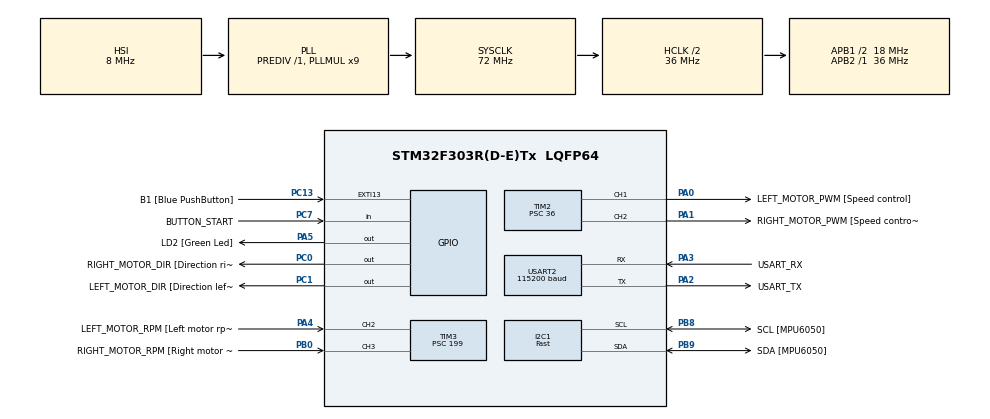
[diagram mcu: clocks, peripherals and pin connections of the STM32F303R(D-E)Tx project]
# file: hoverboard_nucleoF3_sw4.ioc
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I2C1.I2C_Speed_Mode=I2C_Fast
I2C1.Timing=0x0000020B
Mcu.Family=STM32F3
Mcu.Name=STM32F303R(D-E)Tx
Mcu.Package=LQFP64
NVIC.PriorityGroup=NVIC_PRIORITYGROUP_0
NVIC.TIM6_DAC_IRQn=true\:0\:0\:false\:false\:true\:true
NVIC.USART2_IRQn=true\:0\:0\:false\:false\:true\:true
PA0.GPIO_Label=LEFT_MOTOR_PWM [Speed control]
PA0.Signal=S_TIM2_CH1_ETR
PA1.GPIO_Label=RIGHT_MOTOR_PWM [Speed control]
PA1.Signal=S_TIM2_CH2
PA13.GPIO_Label=TMS
PA13.Signal=SYS_JTMS-SWDIO
PA14.GPIO_Label=TCK
PA14.Signal=SYS_JTCK-SWCLK
PA2.GPIO_Label=USART_TX
PA2.GPIO_Mode=GPIO_MODE_AF_PP
PA2.GPIO_PuPd=GPIO_NOPULL
PA2.GPIO_Speed=GPIO_SPEED_FREQ_LOW
PA2.Mode=Asynchronous
PA2.Signal=USART2_TX
PA3.GPIO_Label=USART_RX
PA3.GPIO_Mode=GPIO_MODE_AF_PP
PA3.GPIO_PuPd=GPIO_NOPULL
PA3.GPIO_Speed=GPIO_SPEED_FREQ_LOW
PA3.Mode=Asynchronous
PA3.Signal=USART2_RX
PA4.GPIO_Label=LEFT_MOTOR_RPM [Left motor rpm signal]
PA4.Signal=S_TIM3_CH2
PA5.GPIO_Label=LD2 [Green Led]
PA5.GPIO_Mode=GPIO_MODE_OUTPUT_PP
PA5.GPIO_PuPd=GPIO_NOPULL
PA5.GPIO_Speed=GPIO_SPEED_FREQ_LOW
PA5.Signal=GPIO_Output
PB0.GPIO_Label=RIGHT_MOTOR_RPM [Right motor rpm signal]
PB0.Signal=S_TIM3_CH3
PB3.GPIO_Label=SWO
PB3.Signal=SYS_JTDO-TRACESWO
PB8.GPIO_Label=SCL [MPU6050]
PB8.Mode=I2C
PB8.Signal=I2C1_SCL
PB9.GPIO_Label=SDA [MPU6050]
PB9.Mode=I2C
PB9.Signal=I2C1_SDA
PC0.GPIO_Label=RIGHT_MOTOR_DIR [Direction right motor]
PC0.Signal=GPIO_Output
PC1.GPIO_Label=LEFT_MOTOR_DIR [Direction left motor]
PC1.Signal=GPIO_Output
PC13.GPIO_Label=B1 [Blue PushButton]
PC13.GPIO_ModeDefaultEXTI=GPIO_MODE_IT_FALLING
PC13.Signal=GPXTI13
PC14-OSC32_IN.Signal=RCC_OSC32_IN
PC15-OSC32_OUT.Signal=RCC_OSC32_OUT
PC7.GPIO_Label=BUTTON_START
PC7.GPIO_PuPd=GPIO_PULLUP
PC7.Signal=GPIO_Input
PF0-OSC_IN.Signal=RCC_OSC_IN
PF1-OSC_OUT.Signal=RCC_OSC_OUT
ProjectManager.HeapSize=0x200
ProjectManager.StackSize=0x400
ProjectManager.TargetToolchain=SW4STM32
RCC.AHBCLKDivider=RCC_SYSCLK_DIV2
RCC.AHBFreq_Value=36000000
RCC.APB1CLKDivider=RCC_HCLK_DIV2
RCC.APB1Freq_Value=18000000
RCC.APB1TimFreq_Value=36000000
RCC.APB2Freq_Value=36000000
RCC.APB2TimFreq_Value=36000000
RCC.CortexFreq_Value=36000000
RCC.HCLKFreq_Value=36000000
RCC.HSE_VALUE=8000000
RCC.HSI_VALUE=8000000
RCC.LSE_VALUE=32768
RCC.PLLM=8
RCC.PLLMUL=RCC_PLL_MUL9
RCC.PLLN=336
RCC.PLLP=RCC_PLLP_DIV4
RCC.PLLQ=7
RCC.RCC_PLLsource_Clock_Source_FROM_HSE=RCC_HSE_PREDIV_DIV2
RCC.SYSCLKFreq_VALUE=72000000
RCC.SYSCLKSourceVirtual=RCC_SYSCLKSOURCE_PLLCLK
RCC.USBFreq_Value=72000000
SH.S_TIM2_CH1_ETR.0=TIM2_CH1,PWM Generation1 CH1
SH.S_TIM2_CH2.0=TIM2_CH2,PWM Generation2 CH2
SH.S_TIM3_CH2.0=TIM3_CH2,Input_Capture2_from_TI2
SH.S_TIM3_CH3.0=TIM3_CH3,Input_Capture3_from_TI3
TIM2.Channel-PWM\ Generation1\ CH1=TIM_CHANNEL_1
TIM2.Channel-PWM\ Generation2\ CH2=TIM_CHANNEL_2
TIM2.Period=1000-1
TIM2.Prescaler=36
TIM3.Channel-Input_Capture2_from_TI2=TIM_CHANNEL_2
TIM3.Channel-Input_Capture3_from_TI3=TIM_CHANNEL_3
TIM3.Period=59999
TIM3.Prescaler=199
TIM6.Period=5-1
TIM6.Prescaler=36000-1
USART2.BaudRate=115200
USART2.VirtualMode-Asynchronous=VM_ASYNC
VP_TIM6_VS_ClockSourceINT.Mode=Enable_Timer
board=NUCLEO-F303RE

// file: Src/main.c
/**
  ******************************************************************************
  * @file           : main.c
  * @brief          : Main program body
  ******************************************************************************
  ** This notice applies to any and all portions of this file
  * that are not between comment pairs USER CODE BEGIN and
  * USER CODE END. Other portions of this file, whether
  * inserted by the user or by software development tools
  * are owned by their respective copyright owners.
  *
  * COPYRIGHT(c) 2018 STMicroelectronics
  *
  * Redistribution and use in source and binary forms, with or without modification,
  * are permitted provided that the following conditions are met:
  *   1. Redistributions of source code must retain the above copyright notice,
  *      this list of conditions and the following disclaimer.
  *   2. Redistributions in binary form must reproduce the above copyright notice,
  *      this list of conditions and the following disclaimer in the documentation
  *      and/or other materials provided with the distribution.
  *   3. Neither the name of STMicroelectronics nor the names of its contributors
  *      may be used to endorse or promote products derived from this software
  *      without specific prior written permission.
  *
  * THIS SOFTWARE IS PROVIDED BY THE COPYRIGHT HOLDERS AND CONTRIBUTORS "AS IS"
  * AND ANY EXPRESS OR IMPLIED WARRANTIES, INCLUDING, BUT NOT LIMITED TO, THE
  * IMPLIED WARRANTIES OF MERCHANTABILITY AND FITNESS FOR A PARTICULAR PURPOSE ARE
  * DISCLAIMED. IN NO EVENT SHALL THE COPYRIGHT HOLDER OR CONTRIBUTORS BE LIABLE
  * FOR ANY DIRECT, INDIRECT, INCIDENTAL, SPECIAL, EXEMPLARY, OR CONSEQUENTIAL
  * DAMAGES (INCLUDING, BUT NOT LIMITED TO, PROCUREMENT OF SUBSTITUTE GOODS OR
  * SERVICES; LOSS OF USE, DATA, OR PROFITS; OR BUSINESS INTERRUPTION) HOWEVER
  * CAUSED AND ON ANY THEORY OF LIABILITY, WHETHER IN CONTRACT, STRICT LIABILITY,
  * OR TORT (INCLUDING NEGLIGENCE OR OTHERWISE) ARISING IN ANY WAY OUT OF THE USE
  * OF THIS SOFTWARE, EVEN IF ADVISED OF THE POSSIBILITY OF SUCH DAMAGE.
  *
  ******************************************************************************
  */
#include "main.h"
#include "stm32f3xx_hal.h"

/* USER CODE BEGIN Includes */

#include <math.h>
#include <stdlib.h>
#include "Uart.h"
#include "BLDC_Motors.h"
#include "tm_stm32_delay.h"
#include "mpu6050.h"
#include "kalman_filter.h"
#include "PID_regulator.h"

/* USER CODE END Includes */

I2C_HandleTypeDef hi2c1;

TIM_HandleTypeDef htim2;
TIM_HandleTypeDef htim3;
TIM_HandleTypeDef htim6;

UART_HandleTypeDef huart2;

/* USER CODE BEGIN PV */
/* Private variables ---------------------------------------------------------*/

//UART
extern uint8_t str[50];
extern uint16_t size;

//MPU
TM_MPU6050_t MPU6050_Data0;
TM_MPU6050_t MPU6050_Data1;
uint8_t sensor0 = 0;
uint8_t sensor1 = 0;

//KALMAN
float sensor0_kalman_result = 0;
float sensor1_kalman_result = 0;
int32_t d0_kal_result = 0;	//for Uart
int32_t d1_kal_result = 0;	//for Uart
float angle0_result = 0;
float angle1_result = 0;
int32_t d0_angle_result = 0;	//for Uart
int32_t d1_angle_result = 0;	//for Uart

//PID
int16_t pid0_result = 0;
int16_t pid1_result = 0;

//TEMPORARY & GARBAGE
int32_t temp = 0;
int32_t lastTick = 0;
int32_t interval = 0;
uint8_t allow = 1;

//uint8_t Received[10];

/* USER CODE END PV */

void SystemClock_Config(void);
static void MX_GPIO_Init(void);
static void MX_USART2_UART_Init(void);
static void MX_TIM6_Init(void);
static void MX_TIM2_Init(void);
static void MX_I2C1_Init(void);
static void MX_TIM3_Init(void);

void HAL_TIM_MspPostInit(TIM_HandleTypeDef *htim);

/* USER CODE BEGIN PFP */
/* Private function prototypes -----------------------------------------------*/
void HAL_UART_RxCpltCallback(UART_HandleTypeDef *huart); //odbieranie komendy o ró¿nej d³ugoœci

void HAL_TIM_PeriodElapsedCallback(TIM_HandleTypeDef *htim){	//cykliczne pomiary MPU, filtr KALMANa, regulator PID

  //Reading UART command
  UART_Command_Reading();

 if( HAL_GPIO_ReadPin(BUTTON_START_GPIO_Port, BUTTON_START_Pin) == GPIO_PIN_RESET) {

	if(htim->Instance == TIM6){ // Je¿eli przerwanie pochodzi od timera 6

		if(allow) {

			interval = HAL_GetTick()-lastTick;
			lastTick = HAL_GetTick();

				TM_MPU6050_ReadAll(&MPU6050_Data0);	//RIGHT

				sensor0_kalman_result = -kalman_filter_get_est(&K_MPU6050_0, MPU6050_Data0.Accelerometer_Y, MPU6050_Data0.Accelerometer_Z, MPU6050_Data0.Gyroscope_X);

				d0_kal_result = (int8_t) sensor0_kalman_result;	//for Uart

				angle0_result = -angle_before_kalman(MPU6050_Data0.Accelerometer_Y, MPU6050_Data0.Accelerometer_Z);
				d0_angle_result = (int8_t) angle0_result;	//for Uart

				pid0_result = PID_calculate(&PID_MOT_0, 0, sensor0_kalman_result);

				Control_Motor_by_PID(LEFT_MOTOR, pid0_result);

				TM_MPU6050_ReadAll(&MPU6050_Data1);	//LEFT
				sensor1_kalman_result = kalman_filter_get_est(&K_MPU6050_1, MPU6050_Data1.Accelerometer_Y, MPU6050_Data1.Accelerometer_Z, MPU6050_Data1.Gyroscope_X);

				d1_kal_result = (int8_t) sensor1_kalman_result;	//for Uart

				angle1_result = angle_before_kalman(MPU6050_Data1.Accelerometer_Y, MPU6050_Data1.Accelerometer_Z);
				d1_angle_result = (int8_t) angle1_result;	//for Uart

				pid1_result = PID_calculate(&PID_MOT_1, 0, sensor1_kalman_result);

				Control_Motor_by_PID(RIGHT_MOTOR, pid1_result);

				size = sprintf(str, "%d %d %d      %d %d %d    %d %d\r\n", pid0_result, d0_angle_result, d0_kal_result, pid1_result, d1_angle_result, d1_kal_result, 100, -100);
		//		size = sprintf(str, "%d %d   %d %d\r\n", d0_kal_result, d1_kal_result, 100, -100);
				HAL_UART_Transmit_IT(&huart2, str, size);

			//	sensor0_kalman_result = kalman_filter_get_est(&K_MPU6050_0, MPU6050_Data0.Accelerometer_Y, MPU6050_Data0.Accelerometer_Z, MPU6050_Data0.Gyroscope_X);

/*
				// Format data
				size = sprintf(str, "Sensor0: Angle:%d   Kalman:%d   PID:%d   Acc: X:%d   Y:%d   Z:%d         Gyr: X:%d   Y:%d   Z:%d \r\n",
				d0_angle_result,
				d0_kal_result,
				d0_pid_result,
				MPU6050_Data0.Accelerometer_X,
				MPU6050_Data0.Accelerometer_Y,
				MPU6050_Data0.Accelerometer_Z,
				MPU6050_Data0.Gyroscope_X,
				MPU6050_Data0.Gyroscope_Y,
				MPU6050_Data0.Gyroscope_Z
				);

				size = sprintf(str, "%d  %d   %d %d      %d %d %d \r\n", sensor0, d0_pid_result, d0_angle_result, d0_kal_result, 100, -100, interval);
				HAL_UART_Transmit_IT(&huart2, str, size);

				//-------------

				// Format data
				size = sprintf(str, "Sensor1: Angle:%d   Kalman:%d   PID:%d   Acc: X:%d   Y:%d   Z:%d         Gyr: X:%d   Y:%d   Z:%d \r\n",
				d1_angle_result,
				d1_kal_result,
				d1_pid_result,
				MPU6050_Data1.Accelerometer_X,
				MPU6050_Data1.Accelerometer_Y,
				MPU6050_Data1.Accelerometer_Z,
				MPU6050_Data1.Gyroscope_X,
				MPU6050_Data1.Gyroscope_Y,
				MPU6050_Data1.Gyroscope_Z
				);

				size = sprintf(str, "%d  %d   %d %d      %d %d %d \r\n", sensor1, d1_pid_result, d1_angle_result, d1_kal_result, 100, -100, interval);
				HAL_UART_Transmit_IT(&huart2, str, size);
*/

		}

	}

 } else {
	 Stop_LR_Motors();
 }
}
/* USER CODE END PFP */

int main(void)
{

  /* MCU Configuration----------------------------------------------------------*/

  /* Reset of all peripherals, Initializes the Flash interface and the Systick. */
  HAL_Init();

  /* Configure the system clock */
  SystemClock_Config();

  /* Initialize all configured peripherals */
  MX_GPIO_Init();
  MX_USART2_UART_Init();
  MX_TIM6_Init();
  MX_TIM2_Init();
  MX_I2C1_Init();
  MX_TIM3_Init();
  /* USER CODE BEGIN 2 */

  //Uart init
  HAL_UART_Receive_IT(&huart2, Rx_data, 1);

  //BLDC_Motors init
  Initialize_LR_Motors(&htim2, TIM_CHANNEL_1, TIM_CHANNEL_2);
  Stop_LR_Motors();

  //==================

  //Accelerometr MPU6050 init

  // Initialize MPU6050 sensor 0, address = 0xD0, AD0 pin on sensor is low
  if (TM_MPU6050_Init(&MPU6050_Data0, TM_MPU6050_Device_0, TM_MPU6050_Accelerometer_8G, TM_MPU6050_Gyroscope_250s) == TM_MPU6050_Result_Ok) {
		// Display message to user
		size = sprintf(str, "MPU6050 sensor 0 is ready to use! (AD0:low)\n");
		HAL_UART_Transmit(&huart2, str, size, 1000);
		sensor0 = 1;		// Sensor 0 OK	//RIGHT
  }

  // Initialize MPU6050 sensor 1, address = 0xD2, AD0 pin on sensor is high
  if (TM_MPU6050_Init(&MPU6050_Data1, TM_MPU6050_Device_1, TM_MPU6050_Accelerometer_8G, TM_MPU6050_Gyroscope_250s) == TM_MPU6050_Result_Ok) {
		// Display message to user
		size = sprintf(str, "MPU6050 sensor 1 is ready to use! (AD0:high)\n");
		HAL_UART_Transmit(&huart2, str, size, 1000);
		sensor1 = 1;		// Sensor 1 OK	//LEFT
  }
  //==================

  HAL_Delay(200);
  //Kalman filter init

  TM_MPU6050_ReadAll(&MPU6050_Data0);
  kalman_filter_init(&K_MPU6050_0, MPU6050_Data0.Accelerometer_Y, MPU6050_Data0.Accelerometer_Z);

  TM_MPU6050_ReadAll(&MPU6050_Data1);
  kalman_filter_init(&K_MPU6050_1, MPU6050_Data1.Accelerometer_Y, MPU6050_Data1.Accelerometer_Z);

  //Init cyclic timer (MPU, KALMAN, PID) - after Kalman init!
  HAL_TIM_Base_Start_IT(&htim6);

  /* USER CODE END 2 */

  /* Infinite loop */
  while (1)
  {

  /* USER CODE BEGIN 3 */

	  /*
	  size = sprintf(str, "kutaczan %d\r\n", 22);
	  HAL_UART_Transmit_IT(&huart2, str, size);
	  */

	//------------------------------------

/*
		TM_MPU6050_ReadAll(&MPU6050_Data0);	//RIGHT
		sensor0_kalman_result = kalman_filter_get_est(&K_MPU6050_0, MPU6050_Data0.Accelerometer_Y, MPU6050_Data0.Accelerometer_Z, MPU6050_Data0.Gyroscope_X);

		d0_kal_result = sensor0_kalman_result;	//for Uart

		angle0_result = angle_before_kalman(MPU6050_Data0.Accelerometer_Y, MPU6050_Data0.Accelerometer_Z);
		d0_angle_result = angle0_result;	//for Uart

		pid0_result = PID_calculate(0,sensor0_kalman_result);
		d0_pid_result = pid0_result;	//for Uart

		TM_MPU6050_ReadAll(&MPU6050_Data1);	//LEFT
		sensor1_kalman_result = -kalman_filter_get_est(&K_MPU6050_1, MPU6050_Data1.Accelerometer_Y, MPU6050_Data1.Accelerometer_Z, MPU6050_Data1.Gyroscope_X);

		d1_kal_result = sensor1_kalman_result;	//for Uart

		angle1_result = -angle_before_kalman(MPU6050_Data1.Accelerometer_Y, MPU6050_Data1.Accelerometer_Z);
		d1_angle_result = angle1_result;	//for Uart

		pid1_result = PID_calculate(0,sensor1_kalman_result);
		d1_pid_result = pid1_result;	//for Uart

		size = sprintf(str, "%d %d %d      %d %d %d    %d %d\r\n", d0_pid_result, d0_angle_result, d0_kal_result, d1_pid_result, d1_angle_result, d1_kal_result, MPU6050_Data0.Gyroscope_X, MPU6050_Data1.Gyroscope_X);
		HAL_UART_Transmit_IT(&huart2, str, size);

	  	  HAL_Delay(50);

*/

	//--------------------------------

/*
      if (sensor0) {
           // Read all data from sensor 0
           TM_MPU6050_ReadAll(&MPU6050_Data0);
           sensor0_kalman_result = kalman_filter_get_est(&K_MPU6050_0, MPU6050_Data0.Accelerometer_Y, MPU6050_Data0.Accelerometer_Z, MPU6050_Data0.Gyroscope_X);
 	  	   d0_kal_result = sensor0_kalman_result;	//for Uart

 		   angle0_result = angle_before_kalman(MPU6050_Data0.Accelerometer_Y, MPU6050_Data0.Accelerometer_Z);
 		   d0_angle_result = angle0_result;	//for Uart

           // Format data
           size = sprintf(str, "Sensor0: Angle:%d   Kalman:%d      Acc: X:%d   Y:%d   Z:%d         Gyr: X:%d   Y:%d   Z:%d \r\n",
        	   d0_angle_result,
			   d0_kal_result,
               MPU6050_Data0.Accelerometer_X,
               MPU6050_Data0.Accelerometer_Y,
               MPU6050_Data0.Accelerometer_Z,
               MPU6050_Data0.Gyroscope_X,
               MPU6050_Data0.Gyroscope_Y,
               MPU6050_Data0.Gyroscope_Z
           );

       //    size = sprintf(str, "%d %d      %d %d \r\n", d_angle_result, d_kal_result, 100, -100);
           HAL_UART_Transmit(&huart2, str, size, 1000);
      }

  	  HAL_Delay(500);

      if (sensor1) {
           // Read all data from sensor 1
           TM_MPU6050_ReadAll(&MPU6050_Data1);
           sensor1_kalman_result = kalman_filter_get_est(&K_MPU6050_1, MPU6050_Data1.Accelerometer_Y, MPU6050_Data1.Accelerometer_Z, MPU6050_Data1.Gyroscope_X);
 	  	   d1_kal_result = sensor1_kalman_result;	//for Uart

 		   angle1_result = angle_before_kalman(MPU6050_Data1.Accelerometer_Y, MPU6050_Data1.Accelerometer_Z);
 		   d1_angle_result = angle1_result;	//for Uart

           // Format data

           size = sprintf(str, "Sensor1: Angle:%d   Kalman:%d      Acc: X:%d   Y:%d   Z:%d         Gyr: X:%d   Y:%d   Z:%d \r\n",
               d1_angle_result,
    	       d1_kal_result,
               MPU6050_Data1.Accelerometer_X,
               MPU6050_Data1.Accelerometer_Y,
               MPU6050_Data1.Accelerometer_Z,
               MPU6050_Data1.Gyroscope_X,
               MPU6050_Data1.Gyroscope_Y,
               MPU6050_Data1.Gyroscope_Z
           );

          //     size = sprintf(str, "%d %d      %d %d \r\n", d_angle_result, d_kal_result, 100, -100);

           HAL_UART_Transmit(&huart2, str, size, 1000);
      }

  	  HAL_Delay(500);
*/

  }
  /* USER CODE END 3 */

}

void SystemClock_Config(void)
{

  RCC_OscInitTypeDef RCC_OscInitStruct;
  RCC_ClkInitTypeDef RCC_ClkInitStruct;
  RCC_PeriphCLKInitTypeDef PeriphClkInit;

    /**Initializes the CPU, AHB and APB busses clocks
    */
  RCC_OscInitStruct.OscillatorType = RCC_OSCILLATORTYPE_HSI;
  RCC_OscInitStruct.HSIState = RCC_HSI_ON;
  RCC_OscInitStruct.HSICalibrationValue = 16;
  RCC_OscInitStruct.PLL.PLLState = RCC_PLL_ON;
  RCC_OscInitStruct.PLL.PLLSource = RCC_PLLSOURCE_HSI;
  RCC_OscInitStruct.PLL.PLLMUL = RCC_PLL_MUL9;
  RCC_OscInitStruct.PLL.PREDIV = RCC_PREDIV_DIV1;
  if (HAL_RCC_OscConfig(&RCC_OscInitStruct) != HAL_OK)
  {
    _Error_Handler(__FILE__, __LINE__);
  }

    /**Initializes the CPU, AHB and APB busses clocks
    */
  RCC_ClkInitStruct.ClockType = RCC_CLOCKTYPE_HCLK|RCC_CLOCKTYPE_SYSCLK
                              |RCC_CLOCKTYPE_PCLK1|RCC_CLOCKTYPE_PCLK2;
  RCC_ClkInitStruct.SYSCLKSource = RCC_SYSCLKSOURCE_PLLCLK;
  RCC_ClkInitStruct.AHBCLKDivider = RCC_SYSCLK_DIV2;
  RCC_ClkInitStruct.APB1CLKDivider = RCC_HCLK_DIV2;
  RCC_ClkInitStruct.APB2CLKDivider = RCC_HCLK_DIV1;

  if (HAL_RCC_ClockConfig(&RCC_ClkInitStruct, FLASH_LATENCY_1) != HAL_OK)
  {
    _Error_Handler(__FILE__, __LINE__);
  }

  PeriphClkInit.PeriphClockSelection = RCC_PERIPHCLK_USART2|RCC_PERIPHCLK_I2C1
                              |RCC_PERIPHCLK_TIM2|RCC_PERIPHCLK_TIM34;
  PeriphClkInit.Usart2ClockSelection = RCC_USART2CLKSOURCE_PCLK1;
  PeriphClkInit.I2c1ClockSelection = RCC_I2C1CLKSOURCE_HSI;
  PeriphClkInit.Tim2ClockSelection = RCC_TIM2CLK_HCLK;
  PeriphClkInit.Tim34ClockSelection = RCC_TIM34CLK_HCLK;
  if (HAL_RCCEx_PeriphCLKConfig(&PeriphClkInit) != HAL_OK)
  {
    _Error_Handler(__FILE__, __LINE__);
  }

    /**Configure the Systick interrupt time
    */
  HAL_SYSTICK_Config(HAL_RCC_GetHCLKFreq()/1000);

    /**Configure the Systick
    */
  HAL_SYSTICK_CLKSourceConfig(SYSTICK_CLKSOURCE_HCLK);

  /* SysTick_IRQn interrupt configuration */
  HAL_NVIC_SetPriority(SysTick_IRQn, 0, 0);
}

/* I2C1 init function */
static void MX_I2C1_Init(void)
{

  hi2c1.Instance = I2C1;
  hi2c1.Init.Timing = 0x0000020B;
  hi2c1.Init.OwnAddress1 = 0;
  hi2c1.Init.AddressingMode = I2C_ADDRESSINGMODE_7BIT;
  hi2c1.Init.DualAddressMode = I2C_DUALADDRESS_DISABLE;
  hi2c1.Init.OwnAddress2 = 0;
  hi2c1.Init.OwnAddress2Masks = I2C_OA2_NOMASK;
  hi2c1.Init.GeneralCallMode = I2C_GENERALCALL_DISABLE;
  hi2c1.Init.NoStretchMode = I2C_NOSTRETCH_DISABLE;
  if (HAL_I2C_Init(&hi2c1) != HAL_OK)
  {
    _Error_Handler(__FILE__, __LINE__);
  }

    /**Configure Analogue filter
    */
  if (HAL_I2CEx_ConfigAnalogFilter(&hi2c1, I2C_ANALOGFILTER_ENABLE) != HAL_OK)
  {
    _Error_Handler(__FILE__, __LINE__);
  }

    /**Configure Digital filter
    */
  if (HAL_I2CEx_ConfigDigitalFilter(&hi2c1, 0) != HAL_OK)
  {
    _Error_Handler(__FILE__, __LINE__);
  }

}

/* TIM2 init function */
static void MX_TIM2_Init(void)
{

  TIM_MasterConfigTypeDef sMasterConfig;
  TIM_OC_InitTypeDef sConfigOC;

  htim2.Instance = TIM2;
  htim2.Init.Prescaler = 36;
  htim2.Init.CounterMode = TIM_COUNTERMODE_UP;
  htim2.Init.Period = 1000-1;
  htim2.Init.ClockDivision = TIM_CLOCKDIVISION_DIV1;
  htim2.Init.AutoReloadPreload = TIM_AUTORELOAD_PRELOAD_DISABLE;
  if (HAL_TIM_PWM_Init(&htim2) != HAL_OK)
  {
    _Error_Handler(__FILE__, __LINE__);
  }

  sMasterConfig.MasterOutputTrigger = TIM_TRGO_RESET;
  sMasterConfig.MasterSlaveMode = TIM_MASTERSLAVEMODE_DISABLE;
  if (HAL_TIMEx_MasterConfigSynchronization(&htim2, &sMasterConfig) != HAL_OK)
  {
    _Error_Handler(__FILE__, __LINE__);
  }

  sConfigOC.OCMode = TIM_OCMODE_PWM1;
  sConfigOC.Pulse = 0;
  sConfigOC.OCPolarity = TIM_OCPOLARITY_HIGH;
  sConfigOC.OCFastMode = TIM_OCFAST_DISABLE;
  if (HAL_TIM_PWM_ConfigChannel(&htim2, &sConfigOC, TIM_CHANNEL_1) != HAL_OK)
  {
    _Error_Handler(__FILE__, __LINE__);
  }

  if (HAL_TIM_PWM_ConfigChannel(&htim2, &sConfigOC, TIM_CHANNEL_2) != HAL_OK)
  {
    _Error_Handler(__FILE__, __LINE__);
  }

  HAL_TIM_MspPostInit(&htim2);

}

/* TIM3 init function */
static void MX_TIM3_Init(void)
{

  TIM_MasterConfigTypeDef sMasterConfig;
  TIM_IC_InitTypeDef sConfigIC;

  htim3.Instance = TIM3;
  htim3.Init.Prescaler = 199;
  htim3.Init.CounterMode = TIM_COUNTERMODE_UP;
  htim3.Init.Period = 59999;
  htim3.Init.ClockDivision = TIM_CLOCKDIVISION_DIV1;
  htim3.Init.AutoReloadPreload = TIM_AUTORELOAD_PRELOAD_DISABLE;
  if (HAL_TIM_IC_Init(&htim3) != HAL_OK)
  {
    _Error_Handler(__FILE__, __LINE__);
  }

  sMasterConfig.MasterOutputTrigger = TIM_TRGO_RESET;
  sMasterConfig.MasterSlaveMode = TIM_MASTERSLAVEMODE_DISABLE;
  if (HAL_TIMEx_MasterConfigSynchronization(&htim3, &sMasterConfig) != HAL_OK)
  {
    _Error_Handler(__FILE__, __LINE__);
  }

  sConfigIC.ICPolarity = TIM_INPUTCHANNELPOLARITY_RISING;
  sConfigIC.ICSelection = TIM_ICSELECTION_DIRECTTI;
  sConfigIC.ICPrescaler = TIM_ICPSC_DIV1;
  sConfigIC.ICFilter = 0;
  if (HAL_TIM_IC_ConfigChannel(&htim3, &sConfigIC, TIM_CHANNEL_2) != HAL_OK)
  {
    _Error_Handler(__FILE__, __LINE__);
  }

  if (HAL_TIM_IC_ConfigChannel(&htim3, &sConfigIC, TIM_CHANNEL_3) != HAL_OK)
  {
    _Error_Handler(__FILE__, __LINE__);
  }

}

/* TIM6 init function */
static void MX_TIM6_Init(void)
{

  TIM_MasterConfigTypeDef sMasterConfig;

  htim6.Instance = TIM6;
  htim6.Init.Prescaler = 36000-1;
  htim6.Init.CounterMode = TIM_COUNTERMODE_UP;
  htim6.Init.Period = 5-1;
  htim6.Init.AutoReloadPreload = TIM_AUTORELOAD_PRELOAD_DISABLE;
  if (HAL_TIM_Base_Init(&htim6) != HAL_OK)
  {
    _Error_Handler(__FILE__, __LINE__);
  }

  sMasterConfig.MasterOutputTrigger = TIM_TRGO_RESET;
  sMasterConfig.MasterSlaveMode = TIM_MASTERSLAVEMODE_DISABLE;
  if (HAL_TIMEx_MasterConfigSynchronization(&htim6, &sMasterConfig) != HAL_OK)
  {
    _Error_Handler(__FILE__, __LINE__);
  }

}

/* USART2 init function */
static void MX_USART2_UART_Init(void)
{

  huart2.Instance = USART2;
  huart2.Init.BaudRate = 115200;
  huart2.Init.WordLength = UART_WORDLENGTH_8B;
  huart2.Init.StopBits = UART_STOPBITS_1;
  huart2.Init.Parity = UART_PARITY_NONE;
  huart2.Init.Mode = UART_MODE_TX_RX;
  huart2.Init.HwFlowCtl = UART_HWCONTROL_NONE;
  huart2.Init.OverSampling = UART_OVERSAMPLING_16;
  huart2.Init.OneBitSampling = UART_ONE_BIT_SAMPLE_DISABLE;
  huart2.AdvancedInit.AdvFeatureInit = UART_ADVFEATURE_NO_INIT;
  if (HAL_UART_Init(&huart2) != HAL_OK)
  {
    _Error_Handler(__FILE__, __LINE__);
  }

}

/** Configure pins as
        * Analog
        * Input
        * Output
        * EVENT_OUT
        * EXTI
*/
static void MX_GPIO_Init(void)
{

  GPIO_InitTypeDef GPIO_InitStruct;

  /* GPIO Ports Clock Enable */
  __HAL_RCC_GPIOC_CLK_ENABLE();
  __HAL_RCC_GPIOF_CLK_ENABLE();
  __HAL_RCC_GPIOA_CLK_ENABLE();
  __HAL_RCC_GPIOB_CLK_ENABLE();

  /*Configure GPIO pin Output Level */
  HAL_GPIO_WritePin(GPIOC, RIGHT_MOTOR_DIR_Pin|LEFT_MOTOR_DIR_Pin, GPIO_PIN_RESET);

  /*Configure GPIO pin Output Level */
  HAL_GPIO_WritePin(LD2_GPIO_Port, LD2_Pin, GPIO_PIN_RESET);

  /*Configure GPIO pin : B1_Pin */
  GPIO_InitStruct.Pin = B1_Pin;
  GPIO_InitStruct.Mode = GPIO_MODE_IT_FALLING;
  GPIO_InitStruct.Pull = GPIO_NOPULL;
  HAL_GPIO_Init(B1_GPIO_Port, &GPIO_InitStruct);

  /*Configure GPIO pins : RIGHT_MOTOR_DIR_Pin LEFT_MOTOR_DIR_Pin */
  GPIO_InitStruct.Pin = RIGHT_MOTOR_DIR_Pin|LEFT_MOTOR_DIR_Pin;
  GPIO_InitStruct.Mode = GPIO_MODE_OUTPUT_PP;
  GPIO_InitStruct.Pull = GPIO_NOPULL;
  GPIO_InitStruct.Speed = GPIO_SPEED_FREQ_LOW;
  HAL_GPIO_Init(GPIOC, &GPIO_InitStruct);

  /*Configure GPIO pin : LD2_Pin */
  GPIO_InitStruct.Pin = LD2_Pin;
  GPIO_InitStruct.Mode = GPIO_MODE_OUTPUT_PP;
  GPIO_InitStruct.Pull = GPIO_NOPULL;
  GPIO_InitStruct.Speed = GPIO_SPEED_FREQ_LOW;
  HAL_GPIO_Init(LD2_GPIO_Port, &GPIO_InitStruct);

  /*Configure GPIO pin : BUTTON_START_Pin */
  GPIO_InitStruct.Pin = BUTTON_START_Pin;
  GPIO_InitStruct.Mode = GPIO_MODE_INPUT;
  GPIO_InitStruct.Pull = GPIO_PULLUP;
  HAL_GPIO_Init(BUTTON_START_GPIO_Port, &GPIO_InitStruct);

}

/* USER CODE BEGIN 4 */

void HAL_UART_RxCpltCallback(UART_HandleTypeDef *huart) //odbieranie komendy o ró¿nej d³ugoœci
{
	if (huart->Instance == USART2)  //current UART
	{
		Uart_Receive();
		HAL_UART_Receive_IT(&huart2, Rx_data, 1); //activate UART receive interrupt every time
	}
}

/* USER CODE END 4 */

void _Error_Handler(char *file, int line)
{
  while(1)
  {
  }
}

/************************ (C) COPYRIGHT STMicroelectronics *****END OF FILE****/
